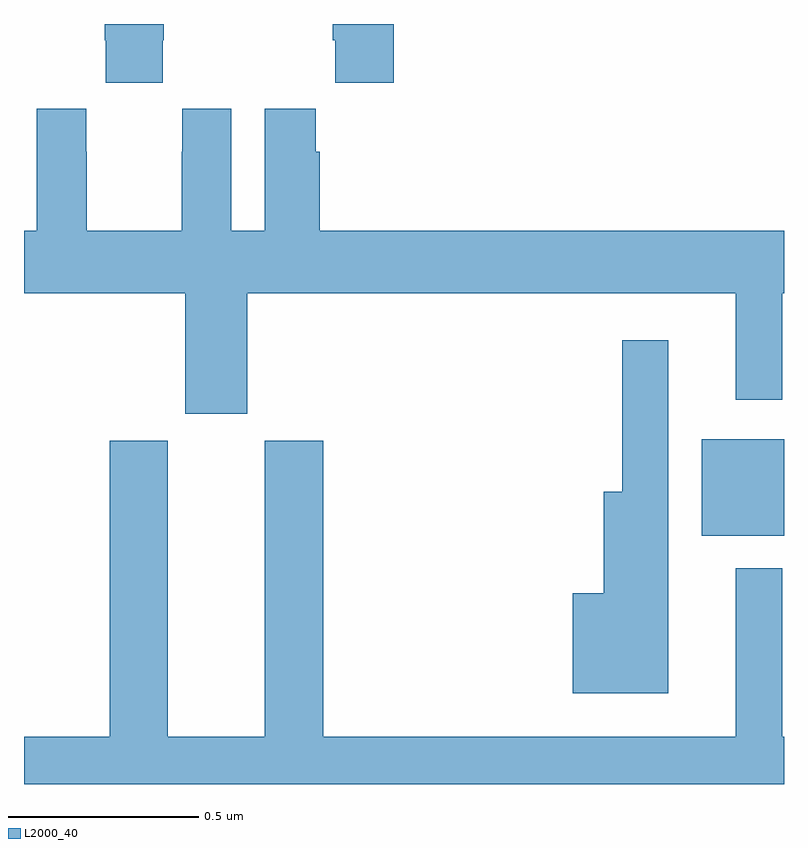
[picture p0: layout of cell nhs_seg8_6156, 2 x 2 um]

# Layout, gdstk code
import gdstk
lib = gdstk.Library(unit=1e-6, precision=1e-09)
def R(c, l, rs):  # rectangles x0, y0, x1, y1
    for r in rs: c.add(gdstk.rectangle(r[:2], r[2:], *l))
def P(c, l, *ps):  # polygons
    for p in ps: c.add(gdstk.Polygon(p, *l))
L2000_40 = (2000, 40)

nhs_seg8_6156 = lib.new_cell('nhs_seg8_6156')
R(nhs_seg8_6156, L2000_40, [(194.783,1090.553,195,1090.807)])
P(nhs_seg8_6156, L2000_40, [(193.365,1091.857),(193.368,1091.857),(193.368,1091.9),(193.213,1091.9),(193.213,1091.857),(193.215,1091.857),(193.215,1091.745),(193.365,1091.745)],
  [(193.973,1091.9),(193.813,1091.9),(193.813,1091.857),(193.819,1091.857),(193.819,1091.745),(193.973,1091.745)],
  [(193.588,1091.192),(194.873,1091.192),(194.873,1090.911),(194.995,1090.911),(194.995,1091.192),(195,1091.192),(195,1091.356),(193.778,1091.356),(193.778,1091.564),(193.768,1091.564),(193.768,1091.677),(193.634,1091.677),(193.634,1091.356),(193.546,1091.356),(193.546,1091.677),(193.416,1091.677),(193.416,1091.564),(193.415,1091.564),(193.415,1091.356),(193.165,1091.356),(193.165,1091.564),(193.164,1091.564),(193.164,1091.677),(193.034,1091.677),(193.034,1091.356),(193,1091.356),(193,1091.192),(193.424,1091.192),(193.424,1090.875),(193.588,1090.875)],
  [(194.695,1091.068),(194.574,1091.068),(194.574,1090.669),(194.525,1090.669),(194.525,1090.402),(194.444,1090.402),(194.444,1090.139),(194.695,1090.139)],
  [(195,1090.024),(194.995,1090.024),(194.995,1090.468),(194.873,1090.468),(194.873,1090.024),(193.787,1090.024),(193.787,1090.803),(193.634,1090.803),(193.634,1090.024),(193.378,1090.024),(193.378,1090.803),(193.226,1090.803),(193.226,1090.024),(193,1090.024),(193,1089.9),(195,1089.9)])

lib.write_gds('nhs_seg8_6156.gds')
